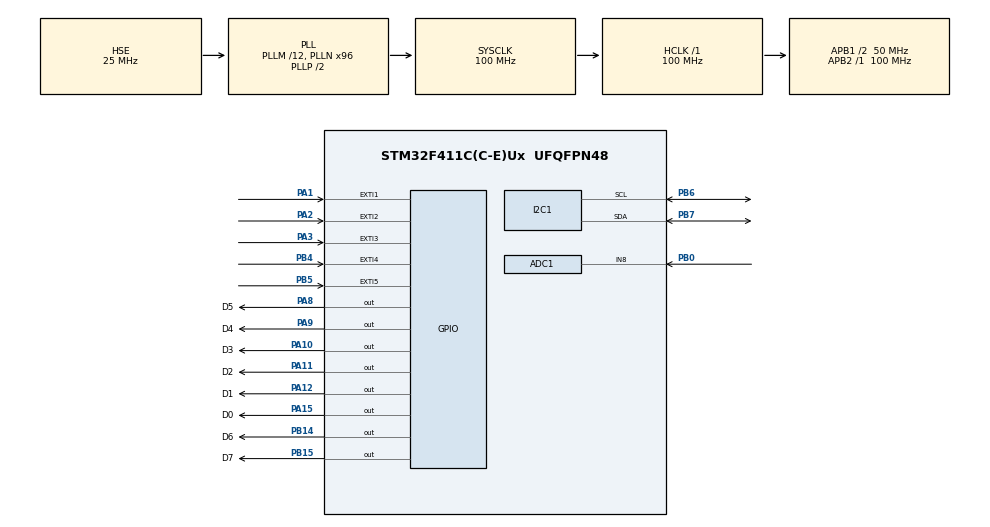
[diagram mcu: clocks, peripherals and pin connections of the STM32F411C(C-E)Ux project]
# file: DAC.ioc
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ADC1.Channel-0\#ChannelRegularConversion=ADC_CHANNEL_8
ADC1.ContinuousConvMode=DISABLE
ADC1.DMAContinuousRequests=ENABLE
ADC1.NbrOfConversionFlag=1
ADC1.Rank-0\#ChannelRegularConversion=1
ADC1.SamplingTime-0\#ChannelRegularConversion=ADC_SAMPLETIME_3CYCLES
ADC1.master=1
Dma.ADC1.0.Direction=DMA_PERIPH_TO_MEMORY
Dma.ADC1.0.FIFOMode=DMA_FIFOMODE_DISABLE
Dma.ADC1.0.Instance=DMA2_Stream0
Dma.ADC1.0.MemDataAlignment=DMA_MDATAALIGN_HALFWORD
Dma.ADC1.0.MemInc=DMA_MINC_ENABLE
Dma.ADC1.0.Mode=DMA_CIRCULAR
Dma.ADC1.0.PeriphDataAlignment=DMA_PDATAALIGN_HALFWORD
Dma.ADC1.0.PeriphInc=DMA_PINC_DISABLE
Dma.ADC1.0.Priority=DMA_PRIORITY_LOW
Dma.Request0=ADC1
Mcu.Family=STM32F4
Mcu.Name=STM32F411C(C-E)Ux
Mcu.Package=UFQFPN48
NVIC.DMA2_Stream0_IRQn=true\:0\:0\:true\:false\:true\:false\:true\:true
NVIC.EXTI1_IRQn=true\:0\:0\:false\:false\:true\:true\:true\:true
NVIC.EXTI2_IRQn=true\:0\:0\:false\:false\:true\:true\:true\:true
NVIC.EXTI3_IRQn=true\:0\:0\:false\:false\:true\:true\:true\:true
NVIC.EXTI4_IRQn=true\:0\:0\:false\:false\:true\:true\:true\:true
NVIC.EXTI9_5_IRQn=true\:0\:0\:false\:false\:true\:true\:true\:true
NVIC.PriorityGroup=NVIC_PRIORITYGROUP_4
NVIC.TIM2_IRQn=true\:5\:0\:true\:false\:true\:true\:true\:true
NVIC.TIM4_IRQn=true\:6\:0\:true\:false\:true\:true\:true\:true
PA1.GPIO_PuPd=GPIO_PULLUP
PA1.Signal=GPXTI1
PA10.GPIO_Label=D3
PA10.Signal=GPIO_Output
PA11.GPIO_Label=D2
PA11.Signal=GPIO_Output
PA12.GPIO_Label=D1
PA12.Signal=GPIO_Output
PA13.Mode=Serial_Wire
PA13.Signal=SYS_JTMS-SWDIO
PA14.Mode=Serial_Wire
PA14.Signal=SYS_JTCK-SWCLK
PA15.GPIO_Label=D0
PA15.Signal=GPIO_Output
PA2.GPIO_PuPd=GPIO_PULLUP
PA2.Signal=GPXTI2
PA3.Signal=GPXTI3
PA8.GPIO_Label=D5
PA8.Signal=GPIO_Output
PA9.GPIO_Label=D4
PA9.Signal=GPIO_Output
PB0.Signal=ADCx_IN8
PB14.GPIO_Label=D6
PB14.Signal=GPIO_Output
PB15.GPIO_Label=D7
PB15.Signal=GPIO_Output
PB4.Signal=GPXTI4
PB5.Signal=GPXTI5
PB6.Mode=I2C
PB6.Signal=I2C1_SCL
PB7.Mode=I2C
PB7.Signal=I2C1_SDA
PH0\ -\ OSC_IN.Mode=HSE-External-Oscillator
PH0\ -\ OSC_IN.Signal=RCC_OSC_IN
PH1\ -\ OSC_OUT.Mode=HSE-External-Oscillator
PH1\ -\ OSC_OUT.Signal=RCC_OSC_OUT
ProjectManager.HeapSize=0x200
ProjectManager.StackSize=0x400
ProjectManager.TargetToolchain=EWARM V8.32
RCC.48MHZClocksFreq_Value=50000000
RCC.AHBFreq_Value=100000000
RCC.APB1CLKDivider=RCC_HCLK_DIV2
RCC.APB1Freq_Value=50000000
RCC.APB1TimFreq_Value=100000000
RCC.APB2Freq_Value=100000000
RCC.APB2TimFreq_Value=100000000
RCC.CortexFreq_Value=100000000
RCC.HCLKFreq_Value=100000000
RCC.HSE_VALUE=25000000
RCC.HSI_VALUE=16000000
RCC.LSE_VALUE=32768
RCC.PLLM=12
RCC.PLLN=96
RCC.PLLSourceVirtual=RCC_PLLSOURCE_HSE
RCC.SYSCLKFreq_VALUE=100000000
RCC.SYSCLKSource=RCC_SYSCLKSOURCE_PLLCLK
RCC.VCOOutputFreq_Value=200000000
SH.ADCx_IN8.0=ADC1_IN8,IN8
TIM2.Period=9
TIM2.Prescaler=39
TIM4.Period=9
TIM4.Prescaler=1
VP_TIM2_VS_ClockSourceINT.Mode=Internal
VP_TIM4_VS_ClockSourceINT.Mode=Internal
board=custom

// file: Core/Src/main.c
/* USER CODE BEGIN Header */
/**
 ******************************************************************************
 * @file           : main.c
 * @brief          : Main program body
 ******************************************************************************
 * @attention
 *
 * Copyright (c) 2025 STMicroelectronics.
 * All rights reserved.
 *
 * This software is licensed under terms that can be found in the LICENSE file
 * in the root directory of this software component.
 * If no LICENSE file comes with this software, it is provided AS-IS.
 *
 ******************************************************************************
 */
/* USER CODE END Header */
#include "main.h"
#include "adc.h"
#include "dma.h"
#include "i2c.h"
#include "tim.h"
#include "gpio.h"

/* USER CODE BEGIN Includes */
#include "DAC.h"
#include "oled.h"
/* USER CODE END Includes */

/* USER CODE BEGIN PV */
unsigned char start[8] = {50,51,50,49,49,49,50,57};
/* USER CODE END PV */

/* Private function prototypes  d*/
void SystemClock_Config(void);

  int main(void)
{

  /* MCU Configuration--------------------------------------------------------*/

  /* Reset of all peripherals, Initializes the Flash interface and the Systick. */
  HAL_Init();

  /* Configure the system clock */
  SystemClock_Config();

  /* Initialize all configured peripherals */
  MX_GPIO_Init();
  MX_DMA_Init();
  MX_TIM2_Init();
  MX_TIM4_Init();
  MX_ADC1_Init();
  MX_I2C1_Init();
  /* USER CODE BEGIN 2 */
   Generate_WaveTables();
   OLED_Init();

  OLED_Clear();

  OLED_ShowChinese(0,0,0,16);
  OLED_ShowChinese(17,0,1,16);
  OLED_ShowChinese(33,0,2,16);
  OLED_ShowChinese(49,0,3,16);
  OLED_Refresh_Gram();
  OLED_ShowChinese(0,17,4,16);
  OLED_ShowChinese(17,17,5,16);
  OLED_ShowChinese(33,17,6,16);
  OLED_ShowChinese(49,17,7,16);
  OLED_ShowChinese(65,17,8,16);
  OLED_ShowChinese(81,17,9,16);
  OLED_ShowChinese(97,17,10,16);
  OLED_Refresh_Gram();
  OLED_ShowChinese(65,45,11,16);
  OLED_ShowChinese(81,45,12,16);
  OLED_ShowString(0, 45, start, 16);

  OLED_Refresh_Gram();
  HAL_Delay(3000);
  OLED_Clear();
  HAL_Delay(100);

  Oled_Base_Show();

  show_one_decimal(0, 13,3.0, 12);
      show_one_decimal(0, 29,2.0, 12);
      show_one_decimal(0, 45,1.0, 12);

  OLED_Refresh_Gram();
  HAL_Delay(100);
 HAL_TIM_Base_Start_IT(&htim2);
 HAL_TIM_Base_Start_IT(&htim4);

  /* USER CODE END 2 */

  /* Infinite loop */
  while (1)
  {

  }
}

void SystemClock_Config(void)
{
  RCC_OscInitTypeDef RCC_OscInitStruct = {0};
  RCC_ClkInitTypeDef RCC_ClkInitStruct = {0};

  /** Configure the main internal regulator output voltage
  */
  __HAL_RCC_PWR_CLK_ENABLE();
  __HAL_PWR_VOLTAGESCALING_CONFIG(PWR_REGULATOR_VOLTAGE_SCALE1);

  /** Initializes the RCC Oscillators according to the specified parameters
  * in the RCC_OscInitTypeDef structure.
  */
  RCC_OscInitStruct.OscillatorType = RCC_OSCILLATORTYPE_HSE;
  RCC_OscInitStruct.HSEState = RCC_HSE_ON;
  RCC_OscInitStruct.PLL.PLLState = RCC_PLL_ON;
  RCC_OscInitStruct.PLL.PLLSource = RCC_PLLSOURCE_HSE;
  RCC_OscInitStruct.PLL.PLLM = 12;
  RCC_OscInitStruct.PLL.PLLN = 96;
  RCC_OscInitStruct.PLL.PLLP = RCC_PLLP_DIV2;
  RCC_OscInitStruct.PLL.PLLQ = 4;
  if (HAL_RCC_OscConfig(&RCC_OscInitStruct) != HAL_OK)
  {
    Error_Handler();
  }

  /** Initializes the CPU, AHB and APB buses clocks
  */
  RCC_ClkInitStruct.ClockType = RCC_CLOCKTYPE_HCLK|RCC_CLOCKTYPE_SYSCLK
                              |RCC_CLOCKTYPE_PCLK1|RCC_CLOCKTYPE_PCLK2;
  RCC_ClkInitStruct.SYSCLKSource = RCC_SYSCLKSOURCE_PLLCLK;
  RCC_ClkInitStruct.AHBCLKDivider = RCC_SYSCLK_DIV1;
  RCC_ClkInitStruct.APB1CLKDivider = RCC_HCLK_DIV2;
  RCC_ClkInitStruct.APB2CLKDivider = RCC_HCLK_DIV1;

  if (HAL_RCC_ClockConfig(&RCC_ClkInitStruct, FLASH_LATENCY_3) != HAL_OK)
  {
    Error_Handler();
  }
}

void Error_Handler(void)
{
  __disable_irq();
  while (1)
  {
  }
}
